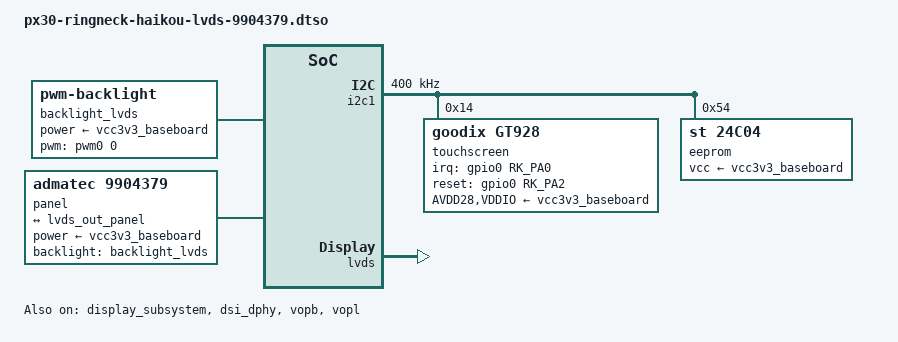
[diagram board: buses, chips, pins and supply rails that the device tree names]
// SPDX-License-Identifier: (GPL-2.0+ OR MIT)
/*
 * Copyright (c) 2025 Cherry Embedded Solutions GmbH
 *
 * HAIKOU-LVDS-9904379 adapter for PX30 Ringneck and Haikou carrierboard.
 *
 * This adapter needs to be plugged in the fake PCIe connector called Video
 * Connector on Haikou carrierboard.
 */

/dts-v1/;
/plugin/;

#include <dt-bindings/gpio/gpio.h>
#include <dt-bindings/interrupt-controller/irq.h>
#include <dt-bindings/pinctrl/rockchip.h>

&{/} {
	backlight_lvds: backlight-lvds {
		compatible = "pwm-backlight";
		brightness-levels = <0 255>;
		default-brightness-level = <255>;
		num-interpolated-steps = <255>;
		power-supply = <&vcc3v3_baseboard>;
		pwms = <&pwm0 0 25000 0>;
	};

	panel {
		compatible = "admatec,9904379", "panel-lvds";
		backlight = <&backlight_lvds>;
		data-mapping = "vesa-24";
		height-mm = <126>;
		power-supply = <&vcc3v3_baseboard>;
		width-mm = <224>;

		panel-timing {
			clock-frequency = <49500000>;
			hactive = <1024>;
			hback-porch = <90>;
			hfront-porch = <90>;
			hsync-len = <90>;
			vactive = <600>;
			vback-porch = <10>;
			vfront-porch = <10>;
			vsync-len = <10>;
		};

		port {
			panel_in_lvds: endpoint {
				remote-endpoint = <&lvds_out_panel>;
			};
		};
	};
};

&display_subsystem {
	status = "okay";
};

&dsi_dphy {
	status = "okay";
};

&i2c1 {
	#address-cells = <1>;
	#size-cells = <0>;
	/* EEPROM and GT928 are limited to 400KHz */
	clock-frequency = <400000>;

	touchscreen@14 {
		compatible = "goodix,gt928";
		reg = <0x14>;
		interrupt-parent = <&gpio0>;
		interrupts = <RK_PA0 IRQ_TYPE_LEVEL_LOW>;
		irq-gpios = <&gpio0 RK_PA0 GPIO_ACTIVE_HIGH>;
		reset-gpios = <&gpio0 RK_PA2 GPIO_ACTIVE_HIGH>;
		pinctrl-0 = <&touch_int &touch_rst>;
		pinctrl-names = "default";
		touchscreen-inverted-x;
		touchscreen-inverted-y;
		AVDD28-supply = <&vcc3v3_baseboard>;
		VDDIO-supply = <&vcc3v3_baseboard>;
	};

	eeprom@54 {
		reg = <0x54>;
		compatible = "st,24c04", "atmel,24c04";
		pagesize = <16>;
		size = <512>;
		vcc-supply = <&vcc3v3_baseboard>;
	};
};

&lvds {
	status = "okay";
};

&lvds_out {
	lvds_out_panel: endpoint {
		remote-endpoint = <&panel_in_lvds>;
	};
};

&pinctrl {
	touch {
		touch_int: touch-int {
			rockchip,pins = <0 RK_PA0 RK_FUNC_GPIO &pcfg_pull_none>;
		};

		touch_rst: touch-rst {
			rockchip,pins = <0 RK_PA2 RK_FUNC_GPIO &pcfg_pull_none>;
		};
	};
};

&vopb {
	status = "okay";
};

&vopb_mmu {
	status = "okay";
};

&vopl {
	status = "okay";
};

&vopl_mmu {
	status = "okay";
};
